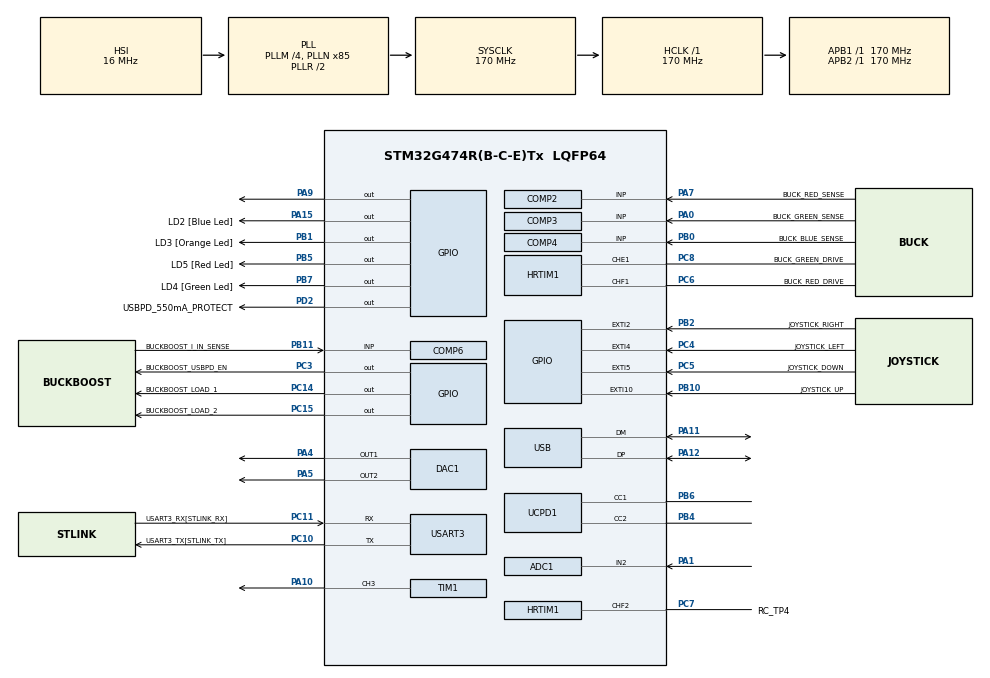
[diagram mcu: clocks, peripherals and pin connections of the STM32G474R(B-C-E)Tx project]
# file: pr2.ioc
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ADC1.Channel-0\#ChannelRegularConversion=ADC_CHANNEL_2
ADC1.NbrOfConversionFlag=1
ADC1.OffsetNumber-0\#ChannelRegularConversion=ADC_OFFSET_NONE
ADC1.Rank-0\#ChannelRegularConversion=1
ADC1.SamplingTime-0\#ChannelRegularConversion=ADC_SAMPLETIME_2CYCLES_5
ADC1.master=1
DAC1.DAC_Channel-DAC_OUT2=DAC_CHANNEL_2
DAC1.DAC_Trigger2_OUT2-DAC_OUT2=DAC_TRIGGER_NONE
DAC1.DAC_Trigger_OUT2-DAC_OUT2=DAC_TRIGGER_T6_TRGO
DAC3.DAC_Channel-DAC_OUT2_Int=DAC_CHANNEL_2
Dma.DAC1_CH1.4.Direction=DMA_MEMORY_TO_PERIPH
Dma.DAC1_CH1.4.EventEnable=DISABLE
Dma.DAC1_CH1.4.Instance=DMA1_Channel2
Dma.DAC1_CH1.4.MemDataAlignment=DMA_MDATAALIGN_WORD
Dma.DAC1_CH1.4.MemInc=DMA_MINC_ENABLE
Dma.DAC1_CH1.4.Mode=DMA_NORMAL
Dma.DAC1_CH1.4.PeriphDataAlignment=DMA_PDATAALIGN_WORD
Dma.DAC1_CH1.4.PeriphInc=DMA_PINC_DISABLE
Dma.DAC1_CH1.4.Polarity=HAL_DMAMUX_REQ_GEN_RISING
Dma.DAC1_CH1.4.Priority=DMA_PRIORITY_HIGH
Dma.DAC1_CH1.4.RequestNumber=1
Dma.DAC1_CH1.4.SignalID=NONE
Dma.DAC1_CH1.4.SyncEnable=DISABLE
Dma.DAC1_CH1.4.SyncPolarity=HAL_DMAMUX_SYNC_NO_EVENT
Dma.DAC1_CH1.4.SyncRequestNumber=1
Dma.DAC1_CH1.4.SyncSignalID=NONE
Dma.DAC1_CH2.3.Direction=DMA_MEMORY_TO_PERIPH
Dma.DAC1_CH2.3.EventEnable=DISABLE
Dma.DAC1_CH2.3.Instance=DMA1_Channel1
Dma.DAC1_CH2.3.MemDataAlignment=DMA_MDATAALIGN_WORD
Dma.DAC1_CH2.3.MemInc=DMA_MINC_ENABLE
Dma.DAC1_CH2.3.Mode=DMA_CIRCULAR
Dma.DAC1_CH2.3.PeriphDataAlignment=DMA_PDATAALIGN_WORD
Dma.DAC1_CH2.3.PeriphInc=DMA_PINC_DISABLE
Dma.DAC1_CH2.3.Polarity=HAL_DMAMUX_REQ_GEN_RISING
Dma.DAC1_CH2.3.Priority=DMA_PRIORITY_HIGH
Dma.DAC1_CH2.3.RequestNumber=1
Dma.DAC1_CH2.3.SignalID=NONE
Dma.DAC1_CH2.3.SyncEnable=DISABLE
Dma.DAC1_CH2.3.SyncPolarity=HAL_DMAMUX_SYNC_NO_EVENT
Dma.DAC1_CH2.3.SyncRequestNumber=1
Dma.DAC1_CH2.3.SyncSignalID=NONE
Dma.Request0=USART3_RX
Dma.Request1=USART3_TX
Dma.Request2=TIM6_UP
Dma.Request3=DAC1_CH2
Dma.Request4=DAC1_CH1
Dma.TIM6_UP.2.Direction=DMA_PERIPH_TO_MEMORY
Dma.TIM6_UP.2.EventEnable=DISABLE
Dma.TIM6_UP.2.Instance=DMA1_Channel3
Dma.TIM6_UP.2.MemDataAlignment=DMA_MDATAALIGN_HALFWORD
Dma.TIM6_UP.2.MemInc=DMA_MINC_ENABLE
Dma.TIM6_UP.2.Mode=DMA_CIRCULAR
Dma.TIM6_UP.2.PeriphDataAlignment=DMA_PDATAALIGN_HALFWORD
Dma.TIM6_UP.2.PeriphInc=DMA_PINC_DISABLE
Dma.TIM6_UP.2.Polarity=HAL_DMAMUX_REQ_GEN_RISING
Dma.TIM6_UP.2.Priority=DMA_PRIORITY_LOW
Dma.TIM6_UP.2.RequestNumber=1
Dma.TIM6_UP.2.SignalID=NONE
Dma.TIM6_UP.2.SyncEnable=DISABLE
Dma.TIM6_UP.2.SyncPolarity=HAL_DMAMUX_SYNC_NO_EVENT
Dma.TIM6_UP.2.SyncRequestNumber=1
Dma.TIM6_UP.2.SyncSignalID=NONE
Dma.USART3_RX.0.Direction=DMA_PERIPH_TO_MEMORY
Dma.USART3_RX.0.EventEnable=DISABLE
Dma.USART3_RX.0.Instance=DMA1_Channel5
Dma.USART3_RX.0.MemDataAlignment=DMA_MDATAALIGN_BYTE
Dma.USART3_RX.0.MemInc=DMA_MINC_ENABLE
Dma.USART3_RX.0.Mode=DMA_NORMAL
Dma.USART3_RX.0.PeriphDataAlignment=DMA_PDATAALIGN_BYTE
Dma.USART3_RX.0.PeriphInc=DMA_PINC_DISABLE
Dma.USART3_RX.0.Polarity=HAL_DMAMUX_REQ_GEN_RISING
Dma.USART3_RX.0.Priority=DMA_PRIORITY_LOW
Dma.USART3_RX.0.RequestNumber=1
Dma.USART3_RX.0.SignalID=NONE
Dma.USART3_RX.0.SyncEnable=DISABLE
Dma.USART3_RX.0.SyncPolarity=HAL_DMAMUX_SYNC_NO_EVENT
Dma.USART3_RX.0.SyncRequestNumber=1
Dma.USART3_RX.0.SyncSignalID=NONE
Dma.USART3_TX.1.Direction=DMA_MEMORY_TO_PERIPH
Dma.USART3_TX.1.EventEnable=DISABLE
Dma.USART3_TX.1.Instance=DMA1_Channel4
Dma.USART3_TX.1.MemDataAlignment=DMA_MDATAALIGN_BYTE
Dma.USART3_TX.1.MemInc=DMA_MINC_ENABLE
Dma.USART3_TX.1.Mode=DMA_NORMAL
Dma.USART3_TX.1.PeriphDataAlignment=DMA_PDATAALIGN_BYTE
Dma.USART3_TX.1.PeriphInc=DMA_PINC_DISABLE
Dma.USART3_TX.1.Polarity=HAL_DMAMUX_REQ_GEN_RISING
Dma.USART3_TX.1.Priority=DMA_PRIORITY_LOW
Dma.USART3_TX.1.RequestNumber=1
Dma.USART3_TX.1.SignalID=NONE
Dma.USART3_TX.1.SyncEnable=DISABLE
Dma.USART3_TX.1.SyncPolarity=HAL_DMAMUX_SYNC_NO_EVENT
Dma.USART3_TX.1.SyncRequestNumber=1
Dma.USART3_TX.1.SyncSignalID=NONE
Mcu.Family=STM32G4
Mcu.Name=STM32G474R(B-C-E)Tx
Mcu.Package=LQFP64
NVIC.ADC1_2_IRQn=true\:0\:0\:false\:false\:true\:true\:true\:true
NVIC.DMA1_Channel1_IRQn=true\:0\:0\:false\:false\:true\:false\:true\:true
NVIC.DMA1_Channel2_IRQn=true\:0\:0\:false\:false\:true\:false\:true\:true
NVIC.DMA1_Channel3_IRQn=true\:0\:0\:false\:false\:true\:false\:true\:true
NVIC.DMA1_Channel4_IRQn=true\:0\:0\:false\:false\:true\:false\:true\:true
NVIC.DMA1_Channel5_IRQn=true\:0\:0\:false\:false\:true\:false\:true\:true
NVIC.EXTI15_10_IRQn=true\:0\:0\:false\:false\:true\:true\:true\:true
NVIC.EXTI2_IRQn=true\:0\:0\:false\:false\:true\:true\:true\:true
NVIC.EXTI4_IRQn=true\:0\:0\:false\:false\:true\:true\:true\:true
NVIC.EXTI9_5_IRQn=true\:0\:0\:false\:false\:true\:true\:true\:true
NVIC.HRTIM1_Master_IRQn=true\:0\:0\:false\:false\:true\:true\:true\:true
NVIC.HRTIM1_TIMF_IRQn=true\:0\:0\:false\:false\:true\:true\:true\:true
NVIC.PriorityGroup=NVIC_PRIORITYGROUP_4
NVIC.TIM6_DAC_IRQn=true\:0\:0\:false\:false\:true\:true\:true\:true
NVIC.USART3_IRQn=true\:0\:0\:false\:false\:true\:false\:true\:true
NVIC.USB_HP_IRQn=true\:0\:0\:false\:false\:true\:true\:true\:true
PA0.GPIO_Label=BUCK_GREEN_SENSE
PA0.Mode=INP
PA0.Signal=COMP3_INP
PA1.Mode=IN2-Single-Ended
PA1.Signal=ADC1_IN2
PA10.Signal=S_TIM1_CH3
PA11.Mode=Device
PA11.Signal=USB_DM
PA12.Mode=Device
PA12.Signal=USB_DP
PA13.Mode=Serial_Wire
PA13.Signal=SYS_JTMS-SWDIO
PA14.Mode=Serial_Wire
PA14.Signal=SYS_JTCK-SWCLK
PA15.GPIO_Label=LD2 [Blue Led]
PA15.Signal=GPIO_Output
PA2.GPIO_Label=BUCKBOOST_I_IN_AVG
PA2.Signal=ADC1_IN3
PA3.GPIO_Label=BUCKBOOST_VOUT
PA3.Signal=ADC1_IN4
PA4.Signal=COMP_DAC11_group
PA5.Signal=COMP_DAC12_group
PA7.GPIO_Label=BUCK_RED_SENSE
PA7.Mode=INP
PA7.Signal=COMP2_INP
PA8.GPIO_Label=BUCK_BLUE_DRIVE
PA8.Signal=HRTIM1_CHA1
PA9.Signal=GPIO_Output
PB0.GPIO_Label=BUCK_BLUE_SENSE
PB0.Mode=INP
PB0.Signal=COMP4_INP
PB1.GPIO_Label=LD3 [Orange Led]
PB1.Signal=GPIO_Output
PB10.GPIO_Label=JOYSTICK_UP
PB10.GPIO_PuPd=GPIO_PULLUP
PB10.Signal=GPXTI10
PB11.GPIO_Label=BUCKBOOST_I_IN_SENSE
PB11.Mode=INP
PB11.Signal=COMP6_INP
PB12.GPIO_Label=BUCKBOOST_P1_DRIVE
PB12.Signal=HRTIM1_CHC1
PB15.GPIO_Label=BUCKBOOST_P2_DRIVE
PB15.Signal=HRTIM1_CHD2
PB2.GPIO_Label=JOYSTICK_RIGHT
PB2.GPIO_PuPd=GPIO_PULLUP
PB2.Signal=GPXTI2
PB3.Signal=SYS_JTDO-SWO
PB4.Mode=Sink_AllSignals
PB4.Signal=UCPD1_CC2
PB5.GPIO_Label=LD5 [Red Led]
PB5.Signal=GPIO_Output
PB6.Mode=Sink_AllSignals
PB6.Signal=UCPD1_CC1
PB7.GPIO_Label=LD4 [Green Led]
PB7.Signal=GPIO_Output
PC10.GPIO_Label=USART3_TX[STLINK_TX]
PC10.GPIO_Speed=GPIO_SPEED_FREQ_MEDIUM
PC10.Mode=Asynchronous
PC10.Signal=USART3_TX
PC11.GPIO_Label=USART3_RX[STLINK_RX]
PC11.GPIO_Speed=GPIO_SPEED_FREQ_MEDIUM
PC11.Mode=Asynchronous
PC11.Signal=USART3_RX
PC14-OSC32_IN.GPIO_Label=BUCKBOOST_LOAD_1
PC14-OSC32_IN.Signal=GPIO_Output
PC15-OSC32_OUT.GPIO_Label=BUCKBOOST_LOAD_2
PC15-OSC32_OUT.Signal=GPIO_Output
PC2.GPIO_Label=USBPD_VIN
PC2.Signal=ADC1_IN8
PC3.GPIO_Label=BUCKBOOST_USBPD_EN
PC3.Signal=GPIO_Output
PC4.GPIO_Label=JOYSTICK_LEFT
PC4.GPIO_PuPd=GPIO_PULLUP
PC4.Signal=GPXTI4
PC5.GPIO_Label=JOYSTICK_DOWN
PC5.GPIO_PuPd=GPIO_PULLUP
PC5.Signal=GPXTI5
PC6.GPIO_Label=BUCK_RED_DRIVE
PC6.Mode=Output_TF1TF2
PC6.Signal=HRTIM1_CHF1
PC7.GPIO_Label=RC_TP4
PC7.Mode=Output_TF1TF2
PC7.Signal=HRTIM1_CHF2
PC8.GPIO_Label=BUCK_GREEN_DRIVE
PC8.Mode=Output_TE1
PC8.Signal=HRTIM1_CHE1
PD2.GPIO_Label=USBPD_550mA_PROTECT
PD2.Signal=GPIO_Output
ProjectManager.HeapSize=0x200
ProjectManager.StackSize=0x400
ProjectManager.TargetToolchain=STM32CubeIDE
RCC.ADC12Freq_Value=170000000
RCC.ADC345Freq_Value=170000000
RCC.AHBFreq_Value=170000000
RCC.APB1Freq_Value=170000000
RCC.APB1TimFreq_Value=170000000
RCC.APB2Freq_Value=170000000
RCC.APB2TimFreq_Value=170000000
RCC.CK48CLockSelection=RCC_USBCLKSOURCE_HSI48
RCC.CortexFreq_Value=170000000
RCC.EXTERNAL_CLOCK_VALUE=12288000
RCC.HCLKFreq_Value=170000000
RCC.HSE_VALUE=8000000
RCC.HSI48_VALUE=48000000
RCC.HSI_VALUE=16000000
RCC.LSE_VALUE=32768
RCC.PLLM=RCC_PLLM_DIV4
RCC.PLLN=85
RCC.PLLP=RCC_PLLP_DIV8
RCC.PLLQ=RCC_PLLQ_DIV8
RCC.SYSCLKFreq_VALUE=170000000
RCC.SYSCLKSource=RCC_SYSCLKSOURCE_PLLCLK
RCC.USBFreq_Value=48000000
RCC.VCOOutputFreq_Value=340000000
SH.COMP_DAC11_group.0=DAC1_OUT1,DAC_OUT1
SH.COMP_DAC12_group.0=DAC1_OUT2,DAC_OUT2
SH.S_TIM1_CH3.0=TIM1_CH3,PWM Generation3 CH3
TIM1.Channel-PWM\ Generation3\ CH3=TIM_CHANNEL_3
TIM1.PeriodNoDither=500
TIM1.Prescaler=1700
TIM6.PeriodNoDither=100
TIM6.Prescaler=1700
TIM6.TIM_MasterOutputTrigger=TIM_TRGO_UPDATE
USART3.VirtualMode-Asynchronous=VM_ASYNC
VP_COMP2_VS_DAC3OUT2.Mode=INM_DAC3OUT2
VP_COMP3_VS_DAC3OUT1.Mode=INM_DAC3OUT1
VP_COMP6_VS_DAC2OUT1.Mode=INM_DAC2OUT1
VP_DAC2_VS_DACI1.Mode=DAC_OUT1_Int
VP_DAC3_VS_DACI1.Mode=DAC_OUT1_Int
VP_DAC3_VS_DACI2.Mode=DAC_OUT2_Int
VP_SYS_VS_DBSignals.Mode=DisableDeadBatterySignals
VP_TIM6_VS_ClockSourceINT.Mode=Enable_Timer
board=B-G474E-DPOW1

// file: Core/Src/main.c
/* USER CODE BEGIN Header */
/**
  ******************************************************************************
  * @file           : main.c
  * @brief          : Main program body
  ******************************************************************************
  * @attention
  *
  * Copyright (c) 2025 STMicroelectronics.
  * All rights reserved.
  *
  * This software is licensed under terms that can be found in the LICENSE file
  * in the root directory of this software component.
  * If no LICENSE file comes with this software, it is provided AS-IS.
  *
  ******************************************************************************
  */
/* USER CODE END Header */
#include "main.h"

/* USER CODE BEGIN Includes */
#include <string.h>
#include <stdio.h>
#include <math.h>
/* USER CODE END Includes */

/* USER CODE BEGIN PTD */
#define M_PI           3.14159265358979323846
#define Fs             100000.0f
#define AMPLITUDE_1    0.5f
#define AMPLITUDE_2    1.0f
#define F1             1000.0f
#define F2             100.0f
#define DURATION       0.02f
#define SAMPLE_COUNT   (uint32_t)(Fs * DURATION)

/* USER CODE END PTD */

ADC_HandleTypeDef hadc1;

COMP_HandleTypeDef hcomp2;
COMP_HandleTypeDef hcomp3;
COMP_HandleTypeDef hcomp4;
COMP_HandleTypeDef hcomp6;

DAC_HandleTypeDef hdac1;
DAC_HandleTypeDef hdac2;
DAC_HandleTypeDef hdac3;
DMA_HandleTypeDef hdma_dac1_ch2;
DMA_HandleTypeDef hdma_dac1_ch1;

HRTIM_HandleTypeDef hhrtim1;

TIM_HandleTypeDef htim1;
TIM_HandleTypeDef htim6;
DMA_HandleTypeDef hdma_tim6_up;

UART_HandleTypeDef huart3;
DMA_HandleTypeDef hdma_usart3_rx;
DMA_HandleTypeDef hdma_usart3_tx;

PCD_HandleTypeDef hpcd_USB_FS;

/* USER CODE BEGIN PV */

char trans_str[64] = {0,};
uint16_t adc = 0;

//-------------------------------------------
uint16_t pwm_value = 0;
int8_t step = 0;

/* USER CODE END PV */

void SystemClock_Config(void);
static void MX_GPIO_Init(void);
static void MX_DMA_Init(void);
static void MX_ADC1_Init(void);
static void MX_COMP2_Init(void);
static void MX_COMP3_Init(void);
static void MX_COMP4_Init(void);
static void MX_COMP6_Init(void);
static void MX_DAC1_Init(void);
static void MX_DAC2_Init(void);
static void MX_DAC3_Init(void);
static void MX_HRTIM1_Init(void);
static void MX_UCPD1_Init(void);
static void MX_USART3_UART_Init(void);
static void MX_USB_PCD_Init(void);
static void MX_TIM1_Init(void);
static void MX_TIM6_Init(void);
/* USER CODE BEGIN PFP */
void setPWM(uint16_t pwm_value);
/* USER CODE END PFP */

int main(void)
{

  /* MCU Configuration--------------------------------------------------------*/

  /* Reset of all peripherals, Initializes the Flash interface and the Systick. */
  HAL_Init();

  /* Configure the system clock */
  SystemClock_Config();

  /* Initialize all configured peripherals */
  MX_GPIO_Init();
  MX_DMA_Init();
  MX_ADC1_Init();
  MX_COMP2_Init();
  MX_COMP3_Init();
  MX_COMP4_Init();
  MX_COMP6_Init();
  MX_DAC1_Init();
  MX_DAC2_Init();
  MX_DAC3_Init();
  MX_HRTIM1_Init();
  MX_UCPD1_Init();
  MX_USART3_UART_Init();
  MX_USB_PCD_Init();
  MX_TIM1_Init();
  MX_TIM6_Init();
  /* USER CODE BEGIN 2 */
  HAL_TIM_Base_Start_IT(&htim1);

  __HAL_DAC_ENABLE(&hdac3, DAC_CHANNEL_1);
  __HAL_DAC_ENABLE(&hdac1, DAC_CHANNEL_2);

  HAL_TIM_PWM_Start(&htim1, TIM_CHANNEL_3);

  char msg[] = "MEOW!\r\n";
  // HAL_UART_Transmit(&huart3, (uint8_t*)msg, strlen(msg), HAL_MAX_DELAY);
  HAL_UART_Transmit_DMA(&huart3, (uint8_t*)msg, strlen(msg));
  HAL_Delay(5);

  HAL_ADCEx_Calibration_Start(&hadc1, ADC_SINGLE_ENDED);
  /* USER CODE END 2 */

  /* Infinite loop */
  /* USER CODE BEGIN WHILE */

  //int curr_voltage_mV = (ch_res * 3300) / 4095;
  //printf("  CH%d=%d.%dV\r", chn, curr_voltage_mV / 1000, (curr_voltage_mV % 1000) / 100);

  /*

   // HAL_DAC_Start(&hdac1,DAC_CHANNEL_2);
   HAL_TIM_Base_Start(&htim6);
   HAL_DAC_Start_DMA(&hdac1, DAC_CHANNEL_2,(uint32_t*)sineWave_3,SAMPLE_COUNT_1,DAC_ALIGN_12B_R);

   */

  uint32_t sineWave_1[SAMPLE_COUNT];
  uint32_t sineWave_2[SAMPLE_COUNT];
  uint32_t sineWave_3[SAMPLE_COUNT];
/*
  for (int i = 0; i < SAMPLE_COUNT; i++)
  {
      sineWave_1[i] = (uint32_t)(2047 * (AMPLITUDE_1 * (sin((2 * M_PI * i * F1) / Fs) + 1)));
      sineWave_2[i] = (uint32_t)(2047 * (AMPLITUDE_2 * (sin((2 * M_PI * i * F2) / Fs) + 1)));
      sineWave_3[i] = (sineWave_1[i] + sineWave_2[i]) / 2;
  }
  */

  for (int i = 0; i < SAMPLE_COUNT; i++)
  {
  	float sin1 = AMPLITUDE_1 * sin(2 * M_PI * F1 * i / Fs);
  	float sin2 = AMPLITUDE_2 * sin(2 * M_PI * F2 * i / Fs);
  	float mul = sin1 * sin2;
  	sineWave_3[i] = (uint32_t)(2047.5f * (mul + 1.0f));
  }

  HAL_TIM_Base_Start(&htim6);
  HAL_DAC_Start_DMA(&hdac1, DAC_CHANNEL_2, (uint32_t*)sineWave_3, SAMPLE_COUNT, DAC_ALIGN_12B_R);
  while (1)
  {

	  ////
/*
	    HAL_ADC_Start(&hadc1);
	       if (HAL_ADC_PollForConversion(&hadc1, 100) == HAL_OK)
	       {
	           uint16_t adc_value = HAL_ADC_GetValue(&hadc1);
	           uint32_t voltage_mV = (adc_value * 3300) / 4095;

	           snprintf(trans_str, sizeof(trans_str), "ADC: %lu.%luV\r",
	                    voltage_mV / 1000,
	                    (voltage_mV % 1000) / 100);

	           HAL_UART_Transmit(&huart3, (uint8_t*)trans_str, strlen(trans_str), 1000);
	       }
	        HAL_Delay(5);
*/

    /* USER CODE END WHILE */

    /* USER CODE BEGIN 3 */
/*
	if(pwm_value == 0) step = 1;
    if(pwm_value == 500) step = -1;
	pwm_value += step;
	setPWM(pwm_value);
	// HAL_Delay(5);
*/
	if (HAL_GPIO_ReadPin(GPIOB, GPIO_PIN_10) == GPIO_PIN_SET)
	{
		HAL_GPIO_WritePin(GPIOB, GPIO_PIN_5, GPIO_PIN_SET);
	}
	else
	{
		HAL_GPIO_WritePin(GPIOB, GPIO_PIN_5, GPIO_PIN_RESET);
	}
	if (HAL_GPIO_ReadPin(GPIOC, GPIO_PIN_5) == GPIO_PIN_SET)
	{
		HAL_GPIO_WritePin(GPIOA, GPIO_PIN_15, GPIO_PIN_SET);
	}
	else
	{
		HAL_GPIO_WritePin(GPIOA, GPIO_PIN_15, GPIO_PIN_RESET);
	}
	if (HAL_GPIO_ReadPin(GPIOC, GPIO_PIN_4) == GPIO_PIN_SET)
	{
	      HAL_GPIO_WritePin(GPIOB, GPIO_PIN_1, GPIO_PIN_SET);
	} else
	{
		HAL_GPIO_WritePin(GPIOB, GPIO_PIN_1, GPIO_PIN_RESET);
	}
	if (HAL_GPIO_ReadPin(GPIOB, GPIO_PIN_2) == GPIO_PIN_SET)
	{
		HAL_GPIO_WritePin(GPIOB, GPIO_PIN_7, GPIO_PIN_SET);
	}
	else
	{
		HAL_GPIO_WritePin(GPIOB, GPIO_PIN_7, GPIO_PIN_RESET);
	}
	    //HAL_Delay(100);
  }
  /* USER CODE END 3 */
}

void SystemClock_Config(void)
{
  RCC_OscInitTypeDef RCC_OscInitStruct = {0};
  RCC_ClkInitTypeDef RCC_ClkInitStruct = {0};

  /** Configure the main internal regulator output voltage
  */
  HAL_PWREx_ControlVoltageScaling(PWR_REGULATOR_VOLTAGE_SCALE1_BOOST);

  /** Initializes the RCC Oscillators according to the specified parameters
  * in the RCC_OscInitTypeDef structure.
  */
  RCC_OscInitStruct.OscillatorType = RCC_OSCILLATORTYPE_HSI|RCC_OSCILLATORTYPE_HSI48;
  RCC_OscInitStruct.HSIState = RCC_HSI_ON;
  RCC_OscInitStruct.HSICalibrationValue = RCC_HSICALIBRATION_DEFAULT;
  RCC_OscInitStruct.HSI48State = RCC_HSI48_ON;
  RCC_OscInitStruct.PLL.PLLState = RCC_PLL_ON;
  RCC_OscInitStruct.PLL.PLLSource = RCC_PLLSOURCE_HSI;
  RCC_OscInitStruct.PLL.PLLM = RCC_PLLM_DIV4;
  RCC_OscInitStruct.PLL.PLLN = 85;
  RCC_OscInitStruct.PLL.PLLP = RCC_PLLP_DIV8;
  RCC_OscInitStruct.PLL.PLLQ = RCC_PLLQ_DIV8;
  RCC_OscInitStruct.PLL.PLLR = RCC_PLLR_DIV2;
  if (HAL_RCC_OscConfig(&RCC_OscInitStruct) != HAL_OK)
  {
    Error_Handler();
  }

  /** Initializes the CPU, AHB and APB buses clocks
  */
  RCC_ClkInitStruct.ClockType = RCC_CLOCKTYPE_HCLK|RCC_CLOCKTYPE_SYSCLK
                              |RCC_CLOCKTYPE_PCLK1|RCC_CLOCKTYPE_PCLK2;
  RCC_ClkInitStruct.SYSCLKSource = RCC_SYSCLKSOURCE_PLLCLK;
  RCC_ClkInitStruct.AHBCLKDivider = RCC_SYSCLK_DIV1;
  RCC_ClkInitStruct.APB1CLKDivider = RCC_HCLK_DIV1;
  RCC_ClkInitStruct.APB2CLKDivider = RCC_HCLK_DIV1;

  if (HAL_RCC_ClockConfig(&RCC_ClkInitStruct, FLASH_LATENCY_4) != HAL_OK)
  {
    Error_Handler();
  }
}

static void MX_ADC1_Init(void)
{

  ADC_MultiModeTypeDef multimode = {0};
  ADC_ChannelConfTypeDef sConfig = {0};

  /** Common config
  */
  hadc1.Instance = ADC1;
  hadc1.Init.ClockPrescaler = ADC_CLOCK_SYNC_PCLK_DIV4;
  hadc1.Init.Resolution = ADC_RESOLUTION_12B;
  hadc1.Init.DataAlign = ADC_DATAALIGN_RIGHT;
  hadc1.Init.GainCompensation = 0;
  hadc1.Init.ScanConvMode = ADC_SCAN_DISABLE;
  hadc1.Init.EOCSelection = ADC_EOC_SINGLE_CONV;
  hadc1.Init.LowPowerAutoWait = DISABLE;
  hadc1.Init.ContinuousConvMode = DISABLE;
  hadc1.Init.NbrOfConversion = 1;
  hadc1.Init.DiscontinuousConvMode = DISABLE;
  hadc1.Init.ExternalTrigConv = ADC_SOFTWARE_START;
  hadc1.Init.ExternalTrigConvEdge = ADC_EXTERNALTRIGCONVEDGE_NONE;
  hadc1.Init.DMAContinuousRequests = DISABLE;
  hadc1.Init.Overrun = ADC_OVR_DATA_PRESERVED;
  hadc1.Init.OversamplingMode = DISABLE;
  if (HAL_ADC_Init(&hadc1) != HAL_OK)
  {
    Error_Handler();
  }

  /** Configure the ADC multi-mode
  */
  multimode.Mode = ADC_MODE_INDEPENDENT;
  if (HAL_ADCEx_MultiModeConfigChannel(&hadc1, &multimode) != HAL_OK)
  {
    Error_Handler();
  }

  /** Configure Regular Channel
  */
  sConfig.Channel = ADC_CHANNEL_2;
  sConfig.Rank = ADC_REGULAR_RANK_1;
  sConfig.SamplingTime = ADC_SAMPLETIME_2CYCLES_5;
  sConfig.SingleDiff = ADC_SINGLE_ENDED;
  sConfig.OffsetNumber = ADC_OFFSET_NONE;
  sConfig.Offset = 0;
  if (HAL_ADC_ConfigChannel(&hadc1, &sConfig) != HAL_OK)
  {
    Error_Handler();
  }

}

static void MX_COMP2_Init(void)
{

  hcomp2.Instance = COMP2;
  hcomp2.Init.InputPlus = COMP_INPUT_PLUS_IO1;
  hcomp2.Init.InputMinus = COMP_INPUT_MINUS_DAC3_CH2;
  hcomp2.Init.OutputPol = COMP_OUTPUTPOL_NONINVERTED;
  hcomp2.Init.Hysteresis = COMP_HYSTERESIS_NONE;
  hcomp2.Init.BlankingSrce = COMP_BLANKINGSRC_NONE;
  hcomp2.Init.TriggerMode = COMP_TRIGGERMODE_NONE;
  if (HAL_COMP_Init(&hcomp2) != HAL_OK)
  {
    Error_Handler();
  }

}

static void MX_COMP3_Init(void)
{

  hcomp3.Instance = COMP3;
  hcomp3.Init.InputPlus = COMP_INPUT_PLUS_IO1;
  hcomp3.Init.InputMinus = COMP_INPUT_MINUS_DAC3_CH1;
  hcomp3.Init.OutputPol = COMP_OUTPUTPOL_NONINVERTED;
  hcomp3.Init.Hysteresis = COMP_HYSTERESIS_NONE;
  hcomp3.Init.BlankingSrce = COMP_BLANKINGSRC_NONE;
  hcomp3.Init.TriggerMode = COMP_TRIGGERMODE_NONE;
  if (HAL_COMP_Init(&hcomp3) != HAL_OK)
  {
    Error_Handler();
  }

}

static void MX_COMP4_Init(void)
{

  hcomp4.Instance = COMP4;
  hcomp4.Init.InputPlus = COMP_INPUT_PLUS_IO1;
  hcomp4.Init.InputMinus = COMP_INPUT_MINUS_DAC1_CH1;
  hcomp4.Init.OutputPol = COMP_OUTPUTPOL_NONINVERTED;
  hcomp4.Init.Hysteresis = COMP_HYSTERESIS_NONE;
  hcomp4.Init.BlankingSrce = COMP_BLANKINGSRC_NONE;
  hcomp4.Init.TriggerMode = COMP_TRIGGERMODE_NONE;
  if (HAL_COMP_Init(&hcomp4) != HAL_OK)
  {
    Error_Handler();
  }

}

static void MX_COMP6_Init(void)
{

  hcomp6.Instance = COMP6;
  hcomp6.Init.InputPlus = COMP_INPUT_PLUS_IO1;
  hcomp6.Init.InputMinus = COMP_INPUT_MINUS_DAC2_CH1;
  hcomp6.Init.OutputPol = COMP_OUTPUTPOL_NONINVERTED;
  hcomp6.Init.Hysteresis = COMP_HYSTERESIS_NONE;
  hcomp6.Init.BlankingSrce = COMP_BLANKINGSRC_NONE;
  hcomp6.Init.TriggerMode = COMP_TRIGGERMODE_NONE;
  if (HAL_COMP_Init(&hcomp6) != HAL_OK)
  {
    Error_Handler();
  }

}

static void MX_DAC1_Init(void)
{

  DAC_ChannelConfTypeDef sConfig = {0};

  /** DAC Initialization
  */
  hdac1.Instance = DAC1;
  if (HAL_DAC_Init(&hdac1) != HAL_OK)
  {
    Error_Handler();
  }

  /** DAC channel OUT1 config
  */
  sConfig.DAC_HighFrequency = DAC_HIGH_FREQUENCY_INTERFACE_MODE_AUTOMATIC;
  sConfig.DAC_DMADoubleDataMode = DISABLE;
  sConfig.DAC_SignedFormat = DISABLE;
  sConfig.DAC_SampleAndHold = DAC_SAMPLEANDHOLD_DISABLE;
  sConfig.DAC_Trigger = DAC_TRIGGER_NONE;
  sConfig.DAC_Trigger2 = DAC_TRIGGER_NONE;
  sConfig.DAC_OutputBuffer = DAC_OUTPUTBUFFER_DISABLE;
  sConfig.DAC_ConnectOnChipPeripheral = DAC_CHIPCONNECT_INTERNAL;
  sConfig.DAC_UserTrimming = DAC_TRIMMING_FACTORY;
  if (HAL_DAC_ConfigChannel(&hdac1, &sConfig, DAC_CHANNEL_1) != HAL_OK)
  {
    Error_Handler();
  }

  /** DAC channel OUT2 config
  */
  sConfig.DAC_Trigger = DAC_TRIGGER_T6_TRGO;
  sConfig.DAC_OutputBuffer = DAC_OUTPUTBUFFER_ENABLE;
  sConfig.DAC_ConnectOnChipPeripheral = DAC_CHIPCONNECT_EXTERNAL;
  if (HAL_DAC_ConfigChannel(&hdac1, &sConfig, DAC_CHANNEL_2) != HAL_OK)
  {
    Error_Handler();
  }

}

static void MX_DAC2_Init(void)
{

  DAC_ChannelConfTypeDef sConfig = {0};

  /** DAC Initialization
  */
  hdac2.Instance = DAC2;
  if (HAL_DAC_Init(&hdac2) != HAL_OK)
  {
    Error_Handler();
  }

  /** DAC channel OUT1 config
  */
  sConfig.DAC_HighFrequency = DAC_HIGH_FREQUENCY_INTERFACE_MODE_AUTOMATIC;
  sConfig.DAC_DMADoubleDataMode = DISABLE;
  sConfig.DAC_SignedFormat = DISABLE;
  sConfig.DAC_SampleAndHold = DAC_SAMPLEANDHOLD_DISABLE;
  sConfig.DAC_Trigger = DAC_TRIGGER_NONE;
  sConfig.DAC_Trigger2 = DAC_TRIGGER_NONE;
  sConfig.DAC_OutputBuffer = DAC_OUTPUTBUFFER_DISABLE;
  sConfig.DAC_ConnectOnChipPeripheral = DAC_CHIPCONNECT_INTERNAL;
  sConfig.DAC_UserTrimming = DAC_TRIMMING_FACTORY;
  if (HAL_DAC_ConfigChannel(&hdac2, &sConfig, DAC_CHANNEL_1) != HAL_OK)
  {
    Error_Handler();
  }

}

static void MX_DAC3_Init(void)
{

  DAC_ChannelConfTypeDef sConfig = {0};

  /** DAC Initialization
  */
  hdac3.Instance = DAC3;
  if (HAL_DAC_Init(&hdac3) != HAL_OK)
  {
    Error_Handler();
  }

  /** DAC channel OUT1 config
  */
  sConfig.DAC_HighFrequency = DAC_HIGH_FREQUENCY_INTERFACE_MODE_AUTOMATIC;
  sConfig.DAC_DMADoubleDataMode = DISABLE;
  sConfig.DAC_SignedFormat = DISABLE;
  sConfig.DAC_SampleAndHold = DAC_SAMPLEANDHOLD_DISABLE;
  sConfig.DAC_Trigger = DAC_TRIGGER_NONE;
  sConfig.DAC_Trigger2 = DAC_TRIGGER_NONE;
  sConfig.DAC_OutputBuffer = DAC_OUTPUTBUFFER_DISABLE;
  sConfig.DAC_ConnectOnChipPeripheral = DAC_CHIPCONNECT_INTERNAL;
  sConfig.DAC_UserTrimming = DAC_TRIMMING_FACTORY;
  if (HAL_DAC_ConfigChannel(&hdac3, &sConfig, DAC_CHANNEL_1) != HAL_OK)
  {
    Error_Handler();
  }

  /** DAC channel OUT2 config
  */
  if (HAL_DAC_ConfigChannel(&hdac3, &sConfig, DAC_CHANNEL_2) != HAL_OK)
  {
    Error_Handler();
  }

}

static void MX_HRTIM1_Init(void)
{

  HRTIM_TimeBaseCfgTypeDef pTimeBaseCfg = {0};
  HRTIM_TimerCtlTypeDef pTimerCtl = {0};
  HRTIM_TimerCfgTypeDef pTimerCfg = {0};
  HRTIM_OutputCfgTypeDef pOutputCfg = {0};

  hhrtim1.Instance = HRTIM1;
  hhrtim1.Init.HRTIMInterruptResquests = HRTIM_IT_NONE;
  hhrtim1.Init.SyncOptions = HRTIM_SYNCOPTION_NONE;
  if (HAL_HRTIM_Init(&hhrtim1) != HAL_OK)
  {
    Error_Handler();
  }
  if (HAL_HRTIM_DLLCalibrationStart(&hhrtim1, HRTIM_CALIBRATIONRATE_3) != HAL_OK)
  {
    Error_Handler();
  }
  if (HAL_HRTIM_PollForDLLCalibration(&hhrtim1, 10) != HAL_OK)
  {
    Error_Handler();
  }
  pTimeBaseCfg.Period = 0xFFDF;
  pTimeBaseCfg.RepetitionCounter = 0x00;
  pTimeBaseCfg.PrescalerRatio = HRTIM_PRESCALERRATIO_MUL32;
  pTimeBaseCfg.Mode = HRTIM_MODE_CONTINUOUS;
  if (HAL_HRTIM_TimeBaseConfig(&hhrtim1, HRTIM_TIMERINDEX_TIMER_E, &pTimeBaseCfg) != HAL_OK)
  {
    Error_Handler();
  }
  pTimerCtl.UpDownMode = HRTIM_TIMERUPDOWNMODE_UP;
  pTimerCtl.DualChannelDacEnable = HRTIM_TIMER_DCDE_DISABLED;
  if (HAL_HRTIM_WaveformTimerControl(&hhrtim1, HRTIM_TIMERINDEX_TIMER_E, &pTimerCtl) != HAL_OK)
  {
    Error_Handler();
  }
  pTimerCfg.InterruptRequests = HRTIM_TIM_IT_NONE;
  pTimerCfg.DMARequests = HRTIM_TIM_DMA_NONE;
  pTimerCfg.DMASrcAddress = 0x0000;
  pTimerCfg.DMADstAddress = 0x0000;
  pTimerCfg.DMASize = 0x1;
  pTimerCfg.HalfModeEnable = HRTIM_HALFMODE_DISABLED;
  pTimerCfg.InterleavedMode = HRTIM_INTERLEAVED_MODE_DISABLED;
  pTimerCfg.StartOnSync = HRTIM_SYNCSTART_DISABLED;
  pTimerCfg.ResetOnSync = HRTIM_SYNCRESET_DISABLED;
  pTimerCfg.DACSynchro = HRTIM_DACSYNC_NONE;
  pTimerCfg.PreloadEnable = HRTIM_PRELOAD_DISABLED;
  pTimerCfg.UpdateGating = HRTIM_UPDATEGATING_INDEPENDENT;
  pTimerCfg.BurstMode = HRTIM_TIMERBURSTMODE_MAINTAINCLOCK;
  pTimerCfg.RepetitionUpdate = HRTIM_UPDATEONREPETITION_DISABLED;
  pTimerCfg.PushPull = HRTIM_TIMPUSHPULLMODE_DISABLED;
  pTimerCfg.FaultEnable = HRTIM_TIMFAULTENABLE_NONE;
  pTimerCfg.FaultLock = HRTIM_TIMFAULTLOCK_READWRITE;
  pTimerCfg.DeadTimeInsertion = HRTIM_TIMDEADTIMEINSERTION_DISABLED;
  pTimerCfg.DelayedProtectionMode = HRTIM_TIMER_D_E_DELAYEDPROTECTION_DISABLED;
  pTimerCfg.UpdateTrigger = HRTIM_TIMUPDATETRIGGER_NONE;
  pTimerCfg.ResetTrigger = HRTIM_TIMRESETTRIGGER_NONE;
  pTimerCfg.ResetUpdate = HRTIM_TIMUPDATEONRESET_DISABLED;
  pTimerCfg.ReSyncUpdate = HRTIM_TIMERESYNC_UPDATE_UNCONDITIONAL;
  if (HAL_HRTIM_WaveformTimerConfig(&hhrtim1, HRTIM_TIMERINDEX_TIMER_E, &pTimerCfg) != HAL_OK)
  {
    Error_Handler();
  }
  pTimerCfg.DelayedProtectionMode = HRTIM_TIMER_F_DELAYEDPROTECTION_DISABLED;
  if (HAL_HRTIM_WaveformTimerConfig(&hhrtim1, HRTIM_TIMERINDEX_TIMER_F, &pTimerCfg) != HAL_OK)
  {
    Error_Handler();
  }
  pOutputCfg.Polarity = HRTIM_OUTPUTPOLARITY_HIGH;
  pOutputCfg.SetSource = HRTIM_OUTPUTSET_NONE;
  pOutputCfg.ResetSource = HRTIM_OUTPUTRESET_NONE;
  pOutputCfg.IdleMode = HRTIM_OUTPUTIDLEMODE_NONE;
  pOutputCfg.IdleLevel = HRTIM_OUTPUTIDLELEVEL_INACTIVE;
  pOutputCfg.FaultLevel = HRTIM_OUTPUTFAULTLEVEL_NONE;
  pOutputCfg.ChopperModeEnable = HRTIM_OUTPUTCHOPPERMODE_DISABLED;
  pOutputCfg.BurstModeEntryDelayed = HRTIM_OUTPUTBURSTMODEENTRY_REGULAR;
  if (HAL_HRTIM_WaveformOutputConfig(&hhrtim1, HRTIM_TIMERINDEX_TIMER_E, HRTIM_OUTPUT_TE1, &pOutputCfg) != HAL_OK)
  {
    Error_Handler();
  }
  if (HAL_HRTIM_WaveformOutputConfig(&hhrtim1, HRTIM_TIMERINDEX_TIMER_F, HRTIM_OUTPUT_TF1, &pOutputCfg) != HAL_OK)
  {
    Error_Handler();
  }
  if (HAL_HRTIM_TimeBaseConfig(&hhrtim1, HRTIM_TIMERINDEX_TIMER_F, &pTimeBaseCfg) != HAL_OK)
  {
    Error_Handler();
  }
  if (HAL_HRTIM_WaveformTimerControl(&hhrtim1, HRTIM_TIMERINDEX_TIMER_F, &pTimerCtl) != HAL_OK)
  {
    Error_Handler();
  }
  if (HAL_HRTIM_WaveformOutputConfig(&hhrtim1, HRTIM_TIMERINDEX_TIMER_F, HRTIM_OUTPUT_TF2, &pOutputCfg) != HAL_OK)
  {
    Error_Handler();
  }
  HAL_HRTIM_MspPostInit(&hhrtim1);

}

static void MX_TIM1_Init(void)
{

  TIM_MasterConfigTypeDef sMasterConfig = {0};
  TIM_OC_InitTypeDef sConfigOC = {0};
  TIM_BreakDeadTimeConfigTypeDef sBreakDeadTimeConfig = {0};

  htim1.Instance = TIM1;
  htim1.Init.Prescaler = 1700;
  htim1.Init.CounterMode = TIM_COUNTERMODE_UP;
  htim1.Init.Period = 500;
  htim1.Init.ClockDivision = TIM_CLOCKDIVISION_DIV1;
  htim1.Init.RepetitionCounter = 0;
  htim1.Init.AutoReloadPreload = TIM_AUTORELOAD_PRELOAD_DISABLE;
  if (HAL_TIM_PWM_Init(&htim1) != HAL_OK)
  {
    Error_Handler();
  }
  sMasterConfig.MasterOutputTrigger = TIM_TRGO_RESET;
  sMasterConfig.MasterOutputTrigger2 = TIM_TRGO2_RESET;
  sMasterConfig.MasterSlaveMode = TIM_MASTERSLAVEMODE_DISABLE;
  if (HAL_TIMEx_MasterConfigSynchronization(&htim1, &sMasterConfig) != HAL_OK)
  {
    Error_Handler();
  }
  sConfigOC.OCMode = TIM_OCMODE_PWM1;
  sConfigOC.Pulse = 0;
  sConfigOC.OCPolarity = TIM_OCPOLARITY_HIGH;
  sConfigOC.OCNPolarity = TIM_OCNPOLARITY_HIGH;
  sConfigOC.OCFastMode = TIM_OCFAST_DISABLE;
  sConfigOC.OCIdleState = TIM_OCIDLESTATE_RESET;
  sConfigOC.OCNIdleState = TIM_OCNIDLESTATE_RESET;
  if (HAL_TIM_PWM_ConfigChannel(&htim1, &sConfigOC, TIM_CHANNEL_3) != HAL_OK)
  {
    Error_Handler();
  }
  sBreakDeadTimeConfig.OffStateRunMode = TIM_OSSR_DISABLE;
  sBreakDeadTimeConfig.OffStateIDLEMode = TIM_OSSI_DISABLE;
  sBreakDeadTimeConfig.LockLevel = TIM_LOCKLEVEL_OFF;
  sBreakDeadTimeConfig.DeadTime = 0;
  sBreakDeadTimeConfig.BreakState = TIM_BREAK_DISABLE;
  sBreakDeadTimeConfig.BreakPolarity = TIM_BREAKPOLARITY_HIGH;
  sBreakDeadTimeConfig.BreakFilter = 0;
  sBreakDeadTimeConfig.BreakAFMode = TIM_BREAK_AFMODE_INPUT;
  sBreakDeadTimeConfig.Break2State = TIM_BREAK2_DISABLE;
  sBreakDeadTimeConfig.Break2Polarity = TIM_BREAK2POLARITY_HIGH;
  sBreakDeadTimeConfig.Break2Filter = 0;
  sBreakDeadTimeConfig.Break2AFMode = TIM_BREAK_AFMODE_INPUT;
  sBreakDeadTimeConfig.AutomaticOutput = TIM_AUTOMATICOUTPUT_DISABLE;
  if (HAL_TIMEx_ConfigBreakDeadTime(&htim1, &sBreakDeadTimeConfig) != HAL_OK)
  {
    Error_Handler();
  }
  HAL_TIM_MspPostInit(&htim1);

}

static void MX_TIM6_Init(void)
{

  TIM_MasterConfigTypeDef sMasterConfig = {0};

  htim6.Instance = TIM6;
  htim6.Init.Prescaler = 170;
  htim6.Init.CounterMode = TIM_COUNTERMODE_UP;
  htim6.Init.Period = 10;
  htim6.Init.AutoReloadPreload = TIM_AUTORELOAD_PRELOAD_DISABLE;
  if (HAL_TIM_Base_Init(&htim6) != HAL_OK)
  {
    Error_Handler();
  }
  sMasterConfig.MasterOutputTrigger = TIM_TRGO_UPDATE;
  sMasterConfig.MasterSlaveMode = TIM_MASTERSLAVEMODE_DISABLE;
  if (HAL_TIMEx_MasterConfigSynchronization(&htim6, &sMasterConfig) != HAL_OK)
  {
    Error_Handler();
  }

}

static void MX_UCPD1_Init(void)
{

  LL_GPIO_InitTypeDef GPIO_InitStruct = {0};

  /* Peripheral clock enable */
  LL_APB1_GRP2_EnableClock(LL_APB1_GRP2_PERIPH_UCPD1);

  LL_AHB2_GRP1_EnableClock(LL_AHB2_GRP1_PERIPH_GPIOB);
  /**UCPD1 GPIO Configuration
  PB4   ------> UCPD1_CC2
  PB6   ------> UCPD1_CC1
  */
  GPIO_InitStruct.Pin = LL_GPIO_PIN_4;
  GPIO_InitStruct.Mode = LL_GPIO_MODE_ANALOG;
  GPIO_InitStruct.Pull = LL_GPIO_PULL_NO;
  LL_GPIO_Init(GPIOB, &GPIO_InitStruct);

  GPIO_InitStruct.Pin = LL_GPIO_PIN_6;
  GPIO_InitStruct.Mode = LL_GPIO_MODE_ANALOG;
  GPIO_InitStruct.Pull = LL_GPIO_PULL_NO;
  LL_GPIO_Init(GPIOB, &GPIO_InitStruct);

}

static void MX_USART3_UART_Init(void)
{

  huart3.Instance = USART3;
  huart3.Init.BaudRate = 115200;
  huart3.Init.WordLength = UART_WORDLENGTH_8B;
  huart3.Init.StopBits = UART_STOPBITS_1;
  huart3.Init.Parity = UART_PARITY_NONE;
  huart3.Init.Mode = UART_MODE_TX_RX;
  huart3.Init.HwFlowCtl = UART_HWCONTROL_NONE;
  huart3.Init.OverSampling = UART_OVERSAMPLING_16;
  huart3.Init.OneBitSampling = UART_ONE_BIT_SAMPLE_DISABLE;
  huart3.Init.ClockPrescaler = UART_PRESCALER_DIV1;
  huart3.AdvancedInit.AdvFeatureInit = UART_ADVFEATURE_NO_INIT;
  if (HAL_UART_Init(&huart3) != HAL_OK)
  {
    Error_Handler();
  }
  if (HAL_UARTEx_SetTxFifoThreshold(&huart3, UART_TXFIFO_THRESHOLD_1_8) != HAL_OK)
  {
    Error_Handler();
  }
  if (HAL_UARTEx_SetRxFifoThreshold(&huart3, UART_RXFIFO_THRESHOLD_1_8) != HAL_OK)
  {
    Error_Handler();
  }
  if (HAL_UARTEx_DisableFifoMode(&huart3) != HAL_OK)
  {
    Error_Handler();
  }

}

static void MX_USB_PCD_Init(void)
{

  hpcd_USB_FS.Instance = USB;
  hpcd_USB_FS.Init.dev_endpoints = 8;
  hpcd_USB_FS.Init.speed = PCD_SPEED_FULL;
  hpcd_USB_FS.Init.phy_itface = PCD_PHY_EMBEDDED;
  hpcd_USB_FS.Init.Sof_enable = DISABLE;
  hpcd_USB_FS.Init.low_power_enable = DISABLE;
  hpcd_USB_FS.Init.lpm_enable = DISABLE;
  hpcd_USB_FS.Init.battery_charging_enable = DISABLE;
  if (HAL_PCD_Init(&hpcd_USB_FS) != HAL_OK)
  {
    Error_Handler();
  }

}

static void MX_DMA_Init(void)
{

  /* DMA controller clock enable */
  __HAL_RCC_DMAMUX1_CLK_ENABLE();
  __HAL_RCC_DMA1_CLK_ENABLE();

  /* DMA interrupt init */
  /* DMA1_Channel1_IRQn interrupt configuration */
  HAL_NVIC_SetPriority(DMA1_Channel1_IRQn, 0, 0);
  HAL_NVIC_EnableIRQ(DMA1_Channel1_IRQn);
  /* DMA1_Channel2_IRQn interrupt configuration */
  HAL_NVIC_SetPriority(DMA1_Channel2_IRQn, 0, 0);
  HAL_NVIC_EnableIRQ(DMA1_Channel2_IRQn);
  /* DMA1_Channel3_IRQn interrupt configuration */
  HAL_NVIC_SetPriority(DMA1_Channel3_IRQn, 0, 0);
  HAL_NVIC_EnableIRQ(DMA1_Channel3_IRQn);
  /* DMA1_Channel4_IRQn interrupt configuration */
  HAL_NVIC_SetPriority(DMA1_Channel4_IRQn, 0, 0);
  HAL_NVIC_EnableIRQ(DMA1_Channel4_IRQn);
  /* DMA1_Channel5_IRQn interrupt configuration */
  HAL_NVIC_SetPriority(DMA1_Channel5_IRQn, 0, 0);
  HAL_NVIC_EnableIRQ(DMA1_Channel5_IRQn);

}

static void MX_GPIO_Init(void)
{
  GPIO_InitTypeDef GPIO_InitStruct = {0};

  /* GPIO Ports Clock Enable */
  __HAL_RCC_GPIOC_CLK_ENABLE();
  __HAL_RCC_GPIOA_CLK_ENABLE();
  __HAL_RCC_GPIOB_CLK_ENABLE();
  __HAL_RCC_GPIOD_CLK_ENABLE();

  /*Configure GPIO pin Output Level */
  HAL_GPIO_WritePin(GPIOC, BUCKBOOST_LOAD_1_Pin|BUCKBOOST_LOAD_2_Pin|BUCKBOOST_USBPD_EN_Pin, GPIO_PIN_RESET);

  /*Configure GPIO pin Output Level */
  HAL_GPIO_WritePin(GPIOB, LD3_Pin|LD5_Pin|LD4_Pin, GPIO_PIN_RESET);

  /*Configure GPIO pin Output Level */
  HAL_GPIO_WritePin(GPIOA, GPIO_PIN_9|LD2_Pin, GPIO_PIN_RESET);

  /*Configure GPIO pin Output Level */
  HAL_GPIO_WritePin(USBPD_550mA_PROTECT_GPIO_Port, USBPD_550mA_PROTECT_Pin, GPIO_PIN_RESET);

  /*Configure GPIO pins : BUCKBOOST_LOAD_1_Pin BUCKBOOST_LOAD_2_Pin BUCKBOOST_USBPD_EN_Pin */
  GPIO_InitStruct.Pin = BUCKBOOST_LOAD_1_Pin|BUCKBOOST_LOAD_2_Pin|BUCKBOOST_USBPD_EN_Pin;
  GPIO_InitStruct.Mode = GPIO_MODE_OUTPUT_PP;
  GPIO_InitStruct.Pull = GPIO_NOPULL;
  GPIO_InitStruct.Speed = GPIO_SPEED_FREQ_LOW;
  HAL_GPIO_Init(GPIOC, &GPIO_InitStruct);

  /*Configure GPIO pins : JOYSTICK_LEFT_Pin JOYSTICK_DOWN_Pin */
  GPIO_InitStruct.Pin = JOYSTICK_LEFT_Pin|JOYSTICK_DOWN_Pin;
  GPIO_InitStruct.Mode = GPIO_MODE_IT_RISING;
  GPIO_InitStruct.Pull = GPIO_PULLUP;
  HAL_GPIO_Init(GPIOC, &GPIO_InitStruct);

  /*Configure GPIO pins : LD3_Pin LD5_Pin LD4_Pin */
  GPIO_InitStruct.Pin = LD3_Pin|LD5_Pin|LD4_Pin;
  GPIO_InitStruct.Mode = GPIO_MODE_OUTPUT_PP;
  GPIO_InitStruct.Pull = GPIO_NOPULL;
  GPIO_InitStruct.Speed = GPIO_SPEED_FREQ_LOW;
  HAL_GPIO_Init(GPIOB, &GPIO_InitStruct);

  /*Configure GPIO pins : JOYSTICK_RIGHT_Pin JOYSTICK_UP_Pin */
  GPIO_InitStruct.Pin = JOYSTICK_RIGHT_Pin|JOYSTICK_UP_Pin;
  GPIO_InitStruct.Mode = GPIO_MODE_IT_RISING;
  GPIO_InitStruct.Pull = GPIO_PULLUP;
  HAL_GPIO_Init(GPIOB, &GPIO_InitStruct);

  /*Configure GPIO pins : PA9 LD2_Pin */
  GPIO_InitStruct.Pin = GPIO_PIN_9|LD2_Pin;
  GPIO_InitStruct.Mode = GPIO_MODE_OUTPUT_PP;
  GPIO_InitStruct.Pull = GPIO_NOPULL;
  GPIO_InitStruct.Speed = GPIO_SPEED_FREQ_LOW;
  HAL_GPIO_Init(GPIOA, &GPIO_InitStruct);

  /*Configure GPIO pin : USBPD_550mA_PROTECT_Pin */
  GPIO_InitStruct.Pin = USBPD_550mA_PROTECT_Pin;
  GPIO_InitStruct.Mode = GPIO_MODE_OUTPUT_PP;
  GPIO_InitStruct.Pull = GPIO_NOPULL;
  GPIO_InitStruct.Speed = GPIO_SPEED_FREQ_LOW;
  HAL_GPIO_Init(USBPD_550mA_PROTECT_GPIO_Port, &GPIO_InitStruct);

  /* EXTI interrupt init*/
  HAL_NVIC_SetPriority(EXTI2_IRQn, 0, 0);
  HAL_NVIC_EnableIRQ(EXTI2_IRQn);

  HAL_NVIC_SetPriority(EXTI4_IRQn, 0, 0);
  HAL_NVIC_EnableIRQ(EXTI4_IRQn);

  HAL_NVIC_SetPriority(EXTI9_5_IRQn, 0, 0);
  HAL_NVIC_EnableIRQ(EXTI9_5_IRQn);

  HAL_NVIC_SetPriority(EXTI15_10_IRQn, 0, 0);
  HAL_NVIC_EnableIRQ(EXTI15_10_IRQn);

}

/* USER CODE BEGIN 4 */
void setPWM(uint16_t value)
{
    TIM_OC_InitTypeDef sConfigOC;

    sConfigOC.OCMode = TIM_OCMODE_PWM1;
    sConfigOC.Pulse = value;
    sConfigOC.OCPolarity = TIM_OCPOLARITY_HIGH;
    sConfigOC.OCFastMode = TIM_OCFAST_DISABLE;
    HAL_TIM_PWM_ConfigChannel(&htim1, &sConfigOC, TIM_CHANNEL_3); // таймер №1, канал №3
    HAL_TIM_PWM_Start(&htim1, TIM_CHANNEL_3);
}

void HAL_UART_RxCpltCallback(UART_HandleTypeDef *huart)
{
  if (huart->Instance == USART1)
  {
    // USART1 завершил прием данных
  }
}

void HAL_UART_TxCpltCallback(UART_HandleTypeDef *huart)
{
  if (huart->Instance == USART2)
  {
    // USART2 завершил отправку данных
  }
}

/* USER CODE END 4 */

void Error_Handler(void)
{
  __disable_irq();
  while (1)
  {
  }
}
